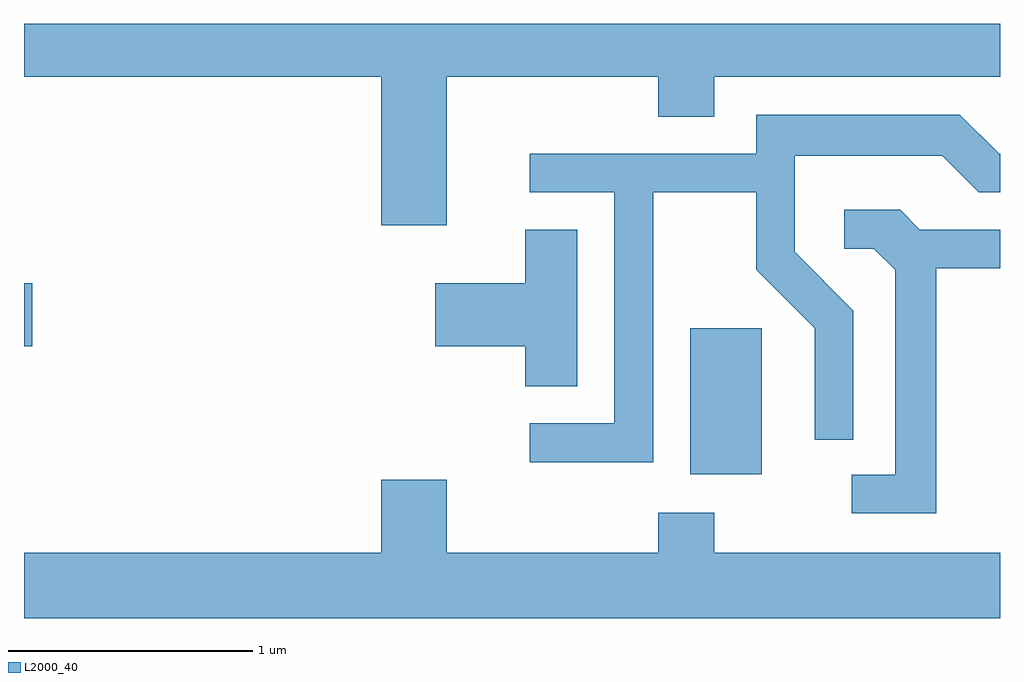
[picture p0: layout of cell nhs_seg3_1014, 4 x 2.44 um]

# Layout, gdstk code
import gdstk
lib = gdstk.Library(unit=1e-6, precision=1e-09)
def R(c, l, rs):  # rectangles x0, y0, x1, y1
    for r in rs: c.add(gdstk.rectangle(r[:2], r[2:], *l))
def P(c, l, *ps):  # polygons
    for p in ps: c.add(gdstk.Polygon(p, *l))
L2000_40 = (2000, 40)

nhs_seg3_1014 = lib.new_cell('nhs_seg3_1014')
R(nhs_seg3_1014, L2000_40, [(216.341,1242.046,216.634,1242.644), (213.611,1242.571,213.644,1242.829)])
P(nhs_seg3_1014, L2000_40, [(215.344,1243.676),(216.211,1243.676),(216.211,1243.511),(216.439,1243.511),(216.439,1243.676),(217.611,1243.676),(217.611,1243.892),(213.611,1243.892),(213.611,1243.676),(215.076,1243.676),(215.076,1243.066),(215.344,1243.066)],
  [(216.189,1243.201),(216.611,1243.201),(216.611,1242.884),(216.851,1242.644),(216.851,1242.188),(217.009,1242.188),(217.009,1242.717),(216.769,1242.957),(216.769,1243.351),(217.374,1243.351),(217.524,1243.201),(217.611,1243.201),(217.611,1243.359),(217.607,1243.359),(217.447,1243.519),(216.611,1243.519),(216.611,1243.359),(215.683,1243.359),(215.683,1243.201),(216.031,1243.201),(216.031,1242.254),(215.683,1242.254),(215.683,1242.096),(216.189,1242.096)],
  [(217.349,1242.891),(217.611,1242.891),(217.611,1243.049),(217.282,1243.049),(217.202,1243.129),(216.973,1243.129),(216.973,1242.971),(217.094,1242.971),(217.181,1242.884),(217.181,1242.044),(217.003,1242.044),(217.003,1241.886),(217.349,1241.886)],
  [(215.879,1243.049),(215.666,1243.049),(215.666,1242.829),(215.296,1242.829),(215.296,1242.571),(215.666,1242.571),(215.666,1242.406),(215.879,1242.406)],
  [(217.611,1241.724),(216.439,1241.724),(216.439,1241.889),(216.211,1241.889),(216.211,1241.724),(215.344,1241.724),(215.344,1242.024),(215.076,1242.024),(215.076,1241.724),(213.611,1241.724),(213.611,1241.456),(217.611,1241.456)])

lib.write_gds('nhs_seg3_1014.gds')
